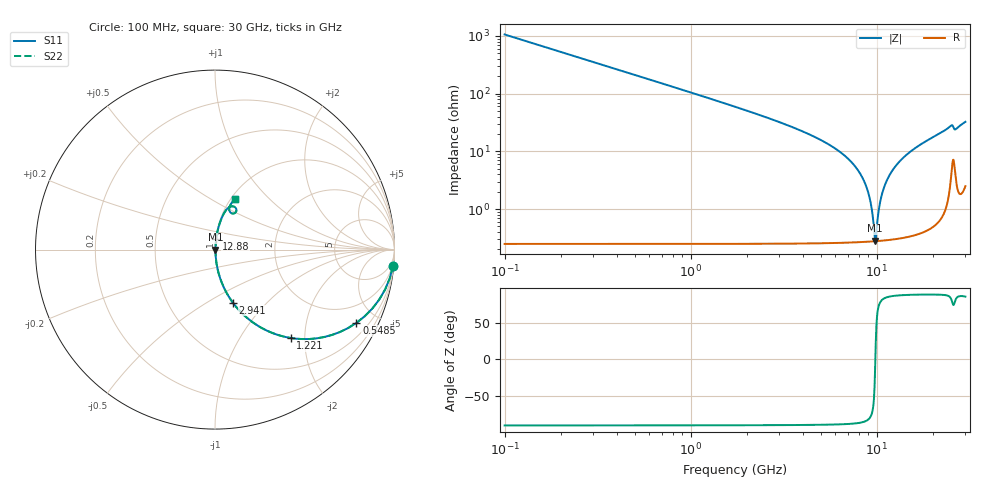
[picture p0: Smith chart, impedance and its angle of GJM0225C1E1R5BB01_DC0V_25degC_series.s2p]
!Murata Part Number: GJM0225C1E1R5BB01
!These Parameters are Measured in Series Mode Connection
!  o--ll--o
!Port1  Port2
!  o------o
!Operation Temp=25[degC], DC Bias Voltage=0[V]
!Freq. Start=100[MHz] Stop=30[GHz], 401[Steps]
!Data Generated on Feb 1, 2023
# Hz S RI R 50
!Freq.(Hz) S11(Real) S11(Imag) S21(Real) S21(Imag) S12(Real) S12(Imag) S22(Real) S22(Imag)
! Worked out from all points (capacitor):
!   401 points, 100 MHz to 30 GHz, reference 50 ohm
!   read as one part in series: C = 1.5 pF near 249.5 MHz
!   lowest |Z| = 281 mohm at 9.818 GHz (marker M1)
!   series resonance near 9.84 GHz, so ESL is about 170 pH
!   S11 on the Smith chart (normalised r, x): 100 MHz: 1, -21; 548.5 MHz: 1.00, -3.86; 1.221 GHz: 1.00, -1.71; 2.941 GHz: 1.01, -0.66; 12.88 GHz: 1.01, +0.12; 30 GHz: 1.05, +0.65
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1e8  0.9912 -0.0934  0.00883 0.0934  0.00883 0.0934  0.9912 -0.0934
3.2425e8  0.9142 -0.2796  0.0858 0.2796  0.0858 0.2796  0.9142 -0.2796
5.485e8  0.7878 -0.4082  0.2122 0.4082  0.2122 0.4082  0.7878 -0.4082
1.22125e9  0.4228 -0.4926  0.5772 0.4926  0.5772 0.4926  0.4228 -0.4926
1.96875e9  0.2124 -0.4066  0.7876 0.4066  0.7876 0.4066  0.2124 -0.4066
2.9405e9  0.0994 -0.2954  0.9006 0.2954  0.9006 0.2954  0.0994 -0.2954
5.10825e9  0.025 -0.1479  0.975 0.1479  0.975 0.1479  0.025 -0.1479
7.20125e9  0.00728 -0.068  0.9927 0.068  0.9927 0.068  0.00728 -0.068
8.472e9  0.00373 -0.0324  0.9963 0.0324  0.9963 0.0324  0.00373 -0.0324
9.2195e9  0.00292 -0.0141  0.9971 0.0141  0.9971 0.0141  0.00292 -0.0141
9.8175e9  0.00276 -0.000501  0.9972 0.000501  0.9972 0.000501  0.00276 -0.000501
9.967e9  0.00278 0.00277  0.9972 -0.00277  0.9972 -0.00277  0.00278 0.00277
1.01165e10  0.00281 0.00599  0.9972 -0.00599  0.9972 -0.00599  0.00281 0.00599
1.049025e10  0.003 0.0139  0.997 -0.0139  0.997 -0.0139  0.003 0.0139
1.10135e10  0.00345 0.0245  0.9966 -0.0245  0.9966 -0.0245  0.00345 0.0245
1.183575e10  0.00455 0.0403  0.9955 -0.0403  0.9955 -0.0403  0.00455 0.0403
1.288225e10  0.00655 0.0591  0.9935 -0.0591  0.9935 -0.0591  0.00655 0.0591
1.505e10  0.0125 0.095  0.9875 -0.095  0.9875 -0.095  0.0125 0.095
2.005825e10  0.0344 0.1689  0.9656 -0.1689  0.9656 -0.1689  0.0344 0.1689
2.50665e10  0.0967 0.2412  0.9033 -0.2412  0.9033 -0.2412  0.0967 0.2412
2.633725e10  0.0904 0.2035  0.9096 -0.2035  0.9096 -0.2035  0.0904 0.2035
3e10  0.1131 0.2806  0.8869 -0.2806  0.8869 -0.2806  0.1131 0.2806
